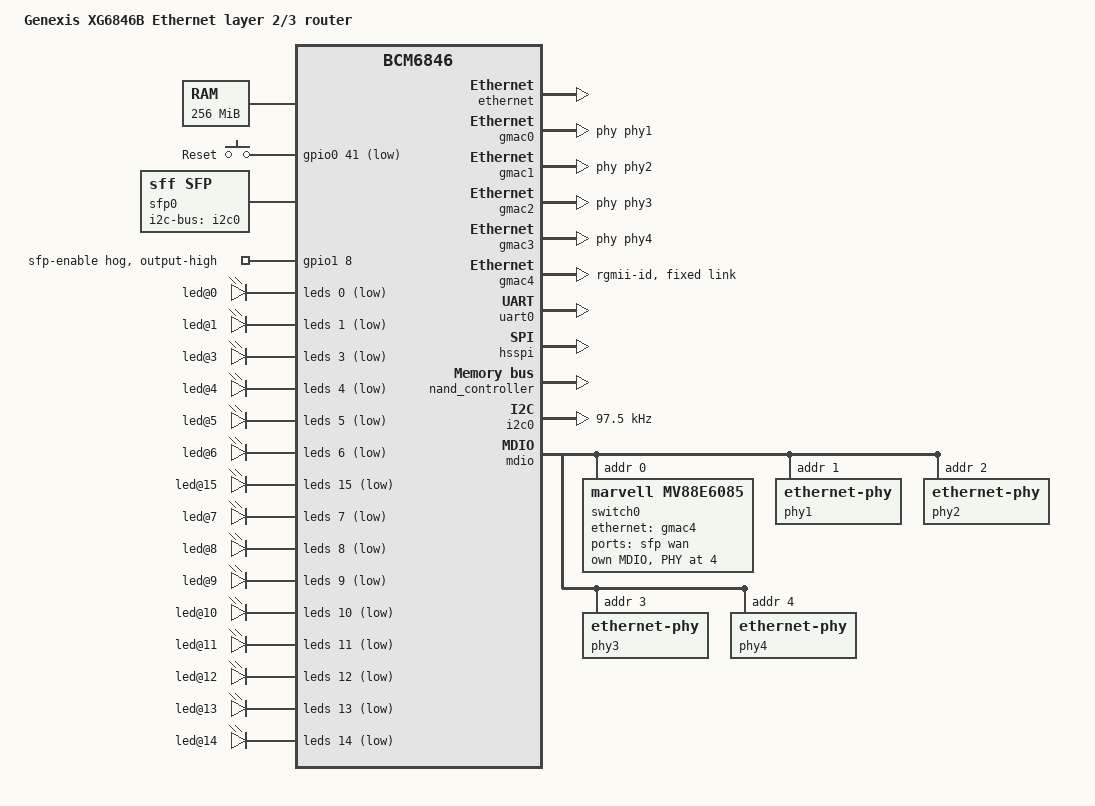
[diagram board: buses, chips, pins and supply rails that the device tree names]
// SPDX-License-Identifier: (GPL-2.0+ OR MIT)
/*
 * Copyright 2024 Linus Walleij <linus.walleij@linaro.org>
 */

/dts-v1/;

#include "bcm6846.dtsi"
#include <dt-bindings/gpio/gpio.h>
#include <dt-bindings/input/input.h>
#include <dt-bindings/leds/common.h>

/ {
	model = "Genexis XG6846B Ethernet layer 2/3 router";
	compatible = "genexis,xg6846b", "brcm,bcm6846", "brcm,bcmbca";

	aliases {
		serial0 = &uart0;
	};

	chosen {
		stdout-path = "serial0:115200n8";
	};

	/* Micron D9PTK 256 MB RAM */
	memory@0 {
		device_type = "memory";
		reg = <0x0 0x10000000>;
	};

	reserved-memory {
		#address-cells = <1>;
		#size-cells = <1>;
		ranges;

		secondary-boot@0 {
			/* Includes the kernel's initial page tables. */
			reg = <0x00000000 0x00008000>;
		};
		pmc3-firmware@8000 {
			no-map;
			reg = <0x00008000 0x00100000>;
		};
	};

	gpio-keys {
		compatible = "gpio-keys-polled";
		poll-interval = <20000>;

		/* Called "canyon rescue button" in the vendor DTB */
		button-restart {
			label = "Reset";
			linux,code = <KEY_RESTART>;
			gpios = <&gpio0 41 GPIO_ACTIVE_LOW>;
		};
	};

	sfp0: sfp {
		compatible = "sff,sfp";
		i2c-bus = <&i2c0>;
	};
};

/* CFE parks CPU1 in its holding pen and does not provide PSCI. */
&{/psci} {
	status = "disabled";
};

&CA7_0 {
	enable-method = "brcm,bca-smp";
	/* Dummy release address since CPU0 is already online */
	cpu-release-addr = <0x00000000>;
};

&CA7_1 {
	enable-method = "brcm,bca-smp";
	cpu-release-addr = <0xff800568>;
};

&{/bus@ff800000/watchdog@480} {
	clocks = <&osc50m>;
};

&ethernet {
	status = "okay";
};

&gmac0 {
	nvmem-cells = <&macaddr_loader_106a0 0>;
	nvmem-cell-names = "mac-address";
	label = "lan1";
	phy-handle = <&phy1>;
	status = "okay";
};

&gmac1 {
	nvmem-cells = <&macaddr_loader_106a0 1>;
	nvmem-cell-names = "mac-address";
	label = "lan2";
	phy-handle = <&phy2>;
	status = "okay";
};

&gmac2 {
	nvmem-cells = <&macaddr_loader_106a0 2>;
	nvmem-cell-names = "mac-address";
	label = "lan3";
	phy-handle = <&phy3>;
	status = "okay";
};

&gmac3 {
	nvmem-cells = <&macaddr_loader_106a0 3>;
	nvmem-cell-names = "mac-address";
	label = "lan4";
	phy-handle = <&phy4>;
	status = "okay";
};

&gmac4 {
	nvmem-cells = <&macaddr_loader_106a0 4>;
	nvmem-cell-names = "mac-address";
	/* The switch supplies the RGMII delays. */
	phy-mode = "rgmii-id";
	status = "okay";

	fixed-link {
		speed = <1000>;
		full-duplex;
	};
};

&gpio0 {
	status = "okay";
};

&gpio1 {
	status = "okay";

	sfp-enable-hog {
		/* GPIO 40 must be high for SFP EEPROM access. */
		gpio-hog;
		gpios = <8 GPIO_ACTIVE_HIGH>;
		output-high;
		line-name = "sfp-enable";
	};
};

&gpio2 {
	status = "okay";
	/* Totally 79 GPIOs are available */
	ngpios = <15>;
};

&uart0 {
	status = "okay";
};

&leds {
	status = "okay";
	brcm,serial-shift-bits = <16>;

	led@0 {
		reg = <0>;
		active-low;
		function = "ext";
		color = <LED_COLOR_ID_GREEN>;
	};

	led@1 {
		reg = <1>;
		active-low;
		function = "ext";
		color = <LED_COLOR_ID_AMBER>;
	};

	led@3 {
		reg = <3>;
		active-low;
		function = LED_FUNCTION_WAN;
		color = <LED_COLOR_ID_AMBER>;
	};

	led@4 {
		reg = <4>;
		active-low;
		function = LED_FUNCTION_WAN;
		color = <LED_COLOR_ID_GREEN>;
	};

	led@5 {
		reg = <5>;
		active-low;
		function = LED_FUNCTION_POWER;
		color = <LED_COLOR_ID_GREEN>;
	};

	led@6 {
		reg = <6>;
		active-low;
		function = LED_FUNCTION_POWER;
		color = <LED_COLOR_ID_RED>;
	};

	led@15 {
		reg = <15>;
		active-low;
		function = LED_FUNCTION_USB;
		color = <LED_COLOR_ID_GREEN>;
	};

	led@7 {
		/* Activity 03 */
		reg = <7>;
		active-low;
		function = "lan1";
		color = <LED_COLOR_ID_AMBER>;
	};

	led@8 {
		/* Activity 04 */
		reg = <8>;
		active-low;
		function = "lan1";
		color = <LED_COLOR_ID_GREEN>;
	};

	led@9 {
		/* Activity 03 */
		reg = <9>;
		active-low;
		function = "lan2";
		color = <LED_COLOR_ID_AMBER>;
	};

	led@10 {
		/* Activity 04 */
		reg = <10>;
		active-low;
		function = "lan2";
		color = <LED_COLOR_ID_GREEN>;
	};

	led@11 {
		/* Activity 03 */
		reg = <11>;
		active-low;
		function = "lan3";
		color = <LED_COLOR_ID_AMBER>;
	};

	led@12 {
		/* Activity 04 */
		reg = <12>;
		active-low;
		function = "lan3";
		color = <LED_COLOR_ID_GREEN>;
	};

	led@13 {
		/* Activity 03 */
		reg = <13>;
		active-low;
		function = "lan4";
		color = <LED_COLOR_ID_AMBER>;
	};

	led@14 {
		/* Activity 04 */
		reg = <14>;
		active-low;
		function = "lan4";
		color = <LED_COLOR_ID_GREEN>;
	};
};

&hsspi {
	status = "okay";
};

&nand_controller {
	brcm,wp-not-connected;
	status = "okay";
};

&nandcs {
	nand-on-flash-bbt;
	brcm,nand-ecc-use-strap;

	/* Winbond W29N02GV, 256MB with 128KB erase blocks */
	partitions {
		compatible = "fixed-partitions";
		#address-cells = <1>;
		#size-cells = <1>;

		partition@0 {
			label = "loader";
			reg = <0x00000000 0x00400000>;
			read-only;

			nvmem-layout {
				compatible = "fixed-layout";
				#address-cells = <1>;
				#size-cells = <1>;

				/* CFE NVRAM at 0x10580, ucaBaseMacAddr at 0x120. */
				macaddr_loader_106a0: macaddr@106a0 {
					compatible = "mac-base";
					reg = <0x106a0 0x6>;
					#nvmem-cell-cells = <1>;
				};
			};
		};
		partition@400000 {
			label = "image";
			reg = <0x00400000 0x0fb80000>;
		};
		/* 0x0ff80000-0x0fffffff: bad block tables */
	};
};

&i2c0 {
	clock-frequency = <97500>;
	status = "okay";
};

&mdio {
	status = "okay";

	switch0: switch@0 {
		/* MV88E6320 revision 2, using direct SMI addressing. */
		compatible = "marvell,mv88e6085";
		reg = <0>;
		interrupt-controller;
		#interrupt-cells = <2>;

		ethernet-ports {
			#address-cells = <1>;
			#size-cells = <0>;

			port@0 {
				/* The separate BCM6846 WAN SerDes is not used. */
				reg = <0>;
				status = "disabled";
			};

			port@1 {
				reg = <1>;
				label = "sfp";
				phy-mode = "1000base-x";
				managed = "in-band-status";
				sfp = <&sfp0>;
			};

			port@4 {
				reg = <4>;
				label = "wan";
				phy-mode = "internal";
				phy-handle = <&switch_phy4>;
			};

			port@6 {
				reg = <6>;
				ethernet = <&gmac4>;
				phy-mode = "rgmii-id";

				fixed-link {
					speed = <1000>;
					full-duplex;
				};
			};
		};

		mdio {
			#address-cells = <1>;
			#size-cells = <0>;

			switch_phy4: ethernet-phy@4 {
				reg = <4>;
			};
		};
	};

	phy1: ethernet-phy@1 {
		reg = <1>;
	};
	phy2: ethernet-phy@2 {
		reg = <2>;
	};
	phy3: ethernet-phy@3 {
		reg = <3>;
	};
	phy4: ethernet-phy@4 {
		reg = <4>;
	};
};
